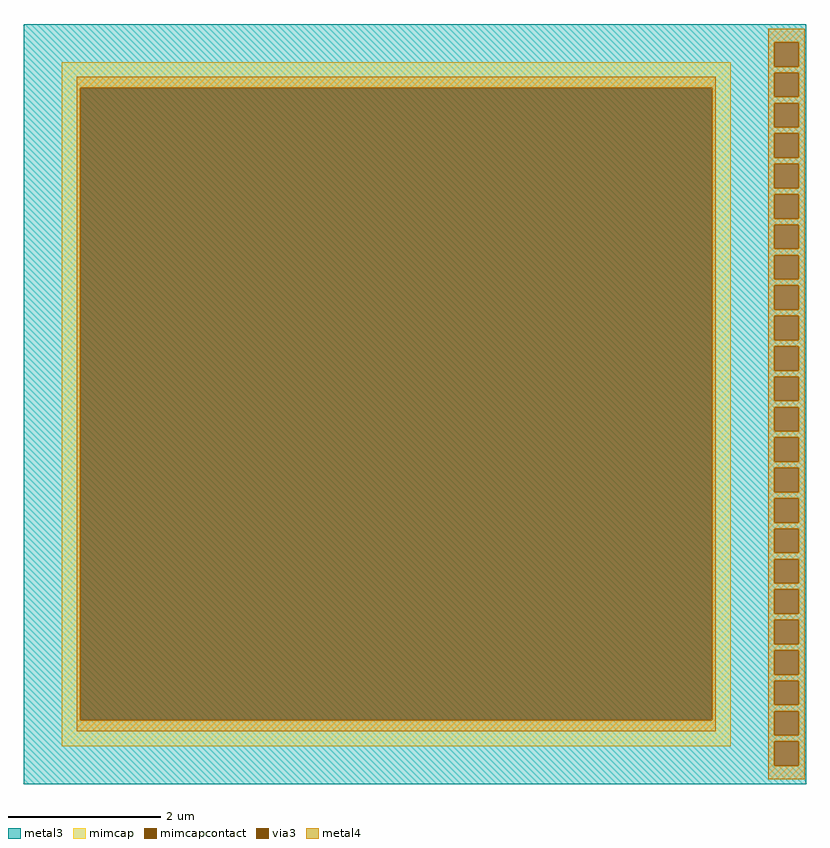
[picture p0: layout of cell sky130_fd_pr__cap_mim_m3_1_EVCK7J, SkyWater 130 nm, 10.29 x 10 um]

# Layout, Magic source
magic
tech sky130A
magscale 1 2
<< metal3 >>
rect -1030 952 1029 1000
rect -1030 888 945 952
rect 1009 888 1029 952
rect -1030 872 1029 888
rect -1030 808 945 872
rect 1009 808 1029 872
rect -1030 792 1029 808
rect -1030 728 945 792
rect 1009 728 1029 792
rect -1030 712 1029 728
rect -1030 648 945 712
rect 1009 648 1029 712
rect -1030 632 1029 648
rect -1030 568 945 632
rect 1009 568 1029 632
rect -1030 552 1029 568
rect -1030 488 945 552
rect 1009 488 1029 552
rect -1030 472 1029 488
rect -1030 408 945 472
rect 1009 408 1029 472
rect -1030 392 1029 408
rect -1030 328 945 392
rect 1009 328 1029 392
rect -1030 312 1029 328
rect -1030 248 945 312
rect 1009 248 1029 312
rect -1030 232 1029 248
rect -1030 168 945 232
rect 1009 168 1029 232
rect -1030 152 1029 168
rect -1030 88 945 152
rect 1009 88 1029 152
rect -1030 72 1029 88
rect -1030 8 945 72
rect 1009 8 1029 72
rect -1030 -8 1029 8
rect -1030 -72 945 -8
rect 1009 -72 1029 -8
rect -1030 -88 1029 -72
rect -1030 -152 945 -88
rect 1009 -152 1029 -88
rect -1030 -168 1029 -152
rect -1030 -232 945 -168
rect 1009 -232 1029 -168
rect -1030 -248 1029 -232
rect -1030 -312 945 -248
rect 1009 -312 1029 -248
rect -1030 -328 1029 -312
rect -1030 -392 945 -328
rect 1009 -392 1029 -328
rect -1030 -408 1029 -392
rect -1030 -472 945 -408
rect 1009 -472 1029 -408
rect -1030 -488 1029 -472
rect -1030 -552 945 -488
rect 1009 -552 1029 -488
rect -1030 -568 1029 -552
rect -1030 -632 945 -568
rect 1009 -632 1029 -568
rect -1030 -648 1029 -632
rect -1030 -712 945 -648
rect 1009 -712 1029 -648
rect -1030 -728 1029 -712
rect -1030 -792 945 -728
rect 1009 -792 1029 -728
rect -1030 -808 1029 -792
rect -1030 -872 945 -808
rect 1009 -872 1029 -808
rect -1030 -888 1029 -872
rect -1030 -952 945 -888
rect 1009 -952 1029 -888
rect -1030 -1000 1029 -952
<< via3 >>
rect 945 888 1009 952
rect 945 808 1009 872
rect 945 728 1009 792
rect 945 648 1009 712
rect 945 568 1009 632
rect 945 488 1009 552
rect 945 408 1009 472
rect 945 328 1009 392
rect 945 248 1009 312
rect 945 168 1009 232
rect 945 88 1009 152
rect 945 8 1009 72
rect 945 -72 1009 -8
rect 945 -152 1009 -88
rect 945 -232 1009 -168
rect 945 -312 1009 -248
rect 945 -392 1009 -328
rect 945 -472 1009 -408
rect 945 -552 1009 -488
rect 945 -632 1009 -568
rect 945 -712 1009 -648
rect 945 -792 1009 -728
rect 945 -872 1009 -808
rect 945 -952 1009 -888
<< mimcap >>
rect -930 832 830 900
rect -930 -832 -882 832
rect 782 -832 830 832
rect -930 -900 830 -832
<< mimcapcontact >>
rect -882 -832 782 832
<< metal4 >>
rect 929 952 1025 988
rect 929 888 945 952
rect 1009 888 1025 952
rect 929 872 1025 888
rect -891 832 791 861
rect -891 -832 -882 832
rect 782 -832 791 832
rect -891 -861 791 -832
rect 929 808 945 872
rect 1009 808 1025 872
rect 929 792 1025 808
rect 929 728 945 792
rect 1009 728 1025 792
rect 929 712 1025 728
rect 929 648 945 712
rect 1009 648 1025 712
rect 929 632 1025 648
rect 929 568 945 632
rect 1009 568 1025 632
rect 929 552 1025 568
rect 929 488 945 552
rect 1009 488 1025 552
rect 929 472 1025 488
rect 929 408 945 472
rect 1009 408 1025 472
rect 929 392 1025 408
rect 929 328 945 392
rect 1009 328 1025 392
rect 929 312 1025 328
rect 929 248 945 312
rect 1009 248 1025 312
rect 929 232 1025 248
rect 929 168 945 232
rect 1009 168 1025 232
rect 929 152 1025 168
rect 929 88 945 152
rect 1009 88 1025 152
rect 929 72 1025 88
rect 929 8 945 72
rect 1009 8 1025 72
rect 929 -8 1025 8
rect 929 -72 945 -8
rect 1009 -72 1025 -8
rect 929 -88 1025 -72
rect 929 -152 945 -88
rect 1009 -152 1025 -88
rect 929 -168 1025 -152
rect 929 -232 945 -168
rect 1009 -232 1025 -168
rect 929 -248 1025 -232
rect 929 -312 945 -248
rect 1009 -312 1025 -248
rect 929 -328 1025 -312
rect 929 -392 945 -328
rect 1009 -392 1025 -328
rect 929 -408 1025 -392
rect 929 -472 945 -408
rect 1009 -472 1025 -408
rect 929 -488 1025 -472
rect 929 -552 945 -488
rect 1009 -552 1025 -488
rect 929 -568 1025 -552
rect 929 -632 945 -568
rect 1009 -632 1025 -568
rect 929 -648 1025 -632
rect 929 -712 945 -648
rect 1009 -712 1025 -648
rect 929 -728 1025 -712
rect 929 -792 945 -728
rect 1009 -792 1025 -728
rect 929 -808 1025 -792
rect 929 -872 945 -808
rect 1009 -872 1025 -808
rect 929 -888 1025 -872
rect 929 -952 945 -888
rect 1009 -952 1025 -888
rect 929 -988 1025 -952
<< properties >>
string FIXED_BBOX -1030 -1000 930 1000
<< end >>
